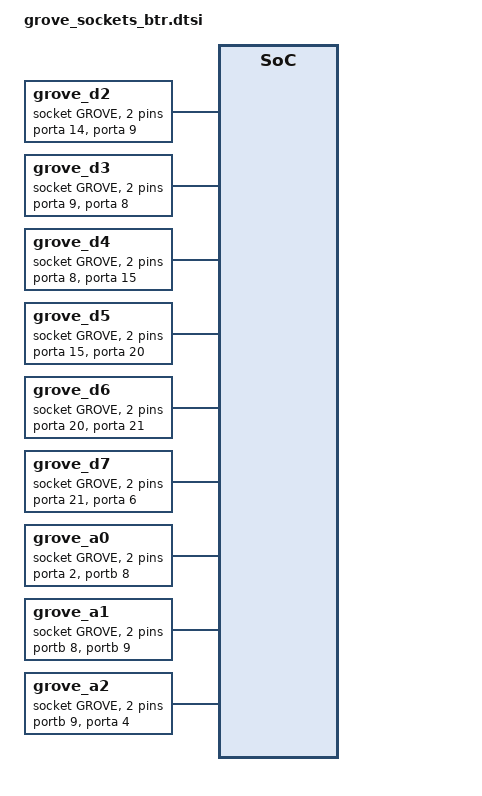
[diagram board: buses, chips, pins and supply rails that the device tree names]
/*
 * Board-DT fragment: Seeeduino Lotus (btr-shields clone) typed "socket,grove"
 * nodes (rigs Convention 4 — typed sockets live in the board's own
 * devicetree).
 *
 * These eight "socket,grove" nodes are the SOLE connector description on this
 * clone: bridle's legacy per-connector `*_header` files were dropped (they had
 * no consumer here and only duplicated these sockets — see the .dts header).
 *
 * gpio-map child pins use the GROVE_SIG0/GROVE_SIG1 indices from
 * <dt-bindings/connector/grove.h>. Pin mapping (which SoC pin each position
 * reaches) mirrors scripts/rigexp/common-dts/boards/seeeduino_lotus.rig.dtsi
 * exactly (the expander-side board model this real board must agree with) —
 * including the daisy-lacing (SIG1 of one connector == SIG0 of the next) and
 * the real bridle fact that D2 and D4 share TCC0 channel 0.
 *
 * adc0: is an ADDITIVE second label on the SoC's existing &adc node — the
 * expander's board model (and its _soc-stubs.dtsi) calls the ADC controller
 * "adc0"; the real SAMD21 dtsi (dts/arm/atmel/samd2x.dtsi) labels it "adc"
 * (singular, no controller instance number — SAMD21 has exactly one ADC).
 * `adc0: &adc {};` is the standard Zephyr idiom for attaching an extra label
 * to an existing node (e.g. `zephyr_udc0: &usb0 { ... };` in bridle's own
 * seeeduino_lotus.dts) — it does not redefine or move anything, only gives
 * the expander's emitted `&adc0 { status = "okay"; };` fragment a real node
 * to resolve against.
 *
 * Bridge-A phase 2a: standard-named `pwm-map` / `io-channel-map` nexuses
 * below (on the sockets that carry PWM/ADC-capable positions) encode the
 * SAME position -> controller+channel routing as the expander-side board
 * model's `socket,pwm-map` / `socket,adc-map`
 * (scripts/rigexp/common-dts/boards/seeeduino_lotus_btr.rig.dtsi) — this is
 * the real-DT counterpart that lets `edtlib.Node.maps()` read it natively
 * (`scripts/rigexp/board_edt.py`), same mechanism as `gpio-map` above.
 * Unlike an invented `socket,pwm-map` name (R21 finding, P3 3c: edtlib
 * strips "-map" -> "socket,pwm" -> demands a nonexistent "#socket,pwm-cells"
 * property), the STANDARD names strip to "pwm" / "io-channel", which demand
 * "#pwm-cells" / "#io-channel-cells" — properties &tcc0/&tcc1 (this board's
 * .dts override) and &adc (dts/arm/atmel/samd2x.dtsi) already declare for
 * their own consumer-facing PWM/ADC roles. So the target side needs no
 * invented decoration; only the socket itself must additionally declare its
 * own "#pwm-cells"/"#io-channel-cells" (the child/consumer-facing spec),
 * same as gpio-map already requires "#gpio-cells" here. The emitter is
 * UNCHANGED by this (out of scope, next task): it still emits fully-resolved
 * `pwms`/`io-channels` straight to `&tcc0`/`&adc0`, bypassing the socket's
 * own nexus — these nexus properties exist for the edtlib reader (pass 1)
 * and for any future consumer that resolves through the socket, not for
 * today's emitter.
 */

#include <dt-bindings/connector/grove.h>

adc0: &adc {};

/ {
	/* Digital Grove sockets. D2/D4 both reach TCC0 channel 0 (real bridle
	 * fact, per bridle's GROVE_PWM_D2/D4_PINCTRL in its upstream
	 * grove_d2/d4_connector.dtsi) — the channel clash lotus-pwm-clash
	 * exercises. #pwm-cells = <2> (channel + period, matching &tcc0/&tcc1's
	 * own atmel,sam0-tcc-pwm override in the board .dts); pwm-map-mask fully
	 * matches the position cell and ignores/passes through the second child
	 * cell (period is a target-side fact, not a match key). */
	grove_d2: connector_grove_d2 {
		compatible = "socket,grove";
		#gpio-cells = <2>;
		gpio-map-mask = <0xffffffff 0xffffffc0>;
		gpio-map-pass-thru = <0 0x3f>;
		gpio-map = <GROVE_SIG0 0 &porta 14 0>, <GROVE_SIG1 0 &porta 9 0>;

		#pwm-cells = <2>;
		pwm-map-mask = <0xffffffff 0x00000000>;
		pwm-map-pass-thru = <0x00000000 0xffffffff>;
		pwm-map = <GROVE_SIG0 0 &tcc0 0 0>, <GROVE_SIG1 0 &tcc0 1 0>;
	};
	grove_d3: connector_grove_d3 {
		compatible = "socket,grove";
		#gpio-cells = <2>;
		gpio-map-mask = <0xffffffff 0xffffffc0>;
		gpio-map-pass-thru = <0 0x3f>;
		gpio-map = <GROVE_SIG0 0 &porta 9 0>, <GROVE_SIG1 0 &porta 8 0>;

		#pwm-cells = <2>;
		pwm-map-mask = <0xffffffff 0x00000000>;
		pwm-map-pass-thru = <0x00000000 0xffffffff>;
		pwm-map = <GROVE_SIG0 0 &tcc0 1 0>, <GROVE_SIG1 0 &tcc0 0 0>;
	};
	grove_d4: connector_grove_d4 {
		compatible = "socket,grove";
		#gpio-cells = <2>;
		gpio-map-mask = <0xffffffff 0xffffffc0>;
		gpio-map-pass-thru = <0 0x3f>;
		gpio-map = <GROVE_SIG0 0 &porta 8 0>, <GROVE_SIG1 0 &porta 15 0>;

		/* Real bridle fact -- D2 and D4 share TCC0 ch0. */
		#pwm-cells = <2>;
		pwm-map-mask = <0xffffffff 0x00000000>;
		pwm-map-pass-thru = <0x00000000 0xffffffff>;
		pwm-map = <GROVE_SIG0 0 &tcc0 0 0>, <GROVE_SIG1 0 &tcc0 1 0>;
	};
	grove_d5: connector_grove_d5 {
		compatible = "socket,grove";
		#gpio-cells = <2>;
		gpio-map-mask = <0xffffffff 0xffffffc0>;
		gpio-map-pass-thru = <0 0x3f>;
		gpio-map = <GROVE_SIG0 0 &porta 15 0>, <GROVE_SIG1 0 &porta 20 0>;
	};
	grove_d6: connector_grove_d6 {
		compatible = "socket,grove";
		#gpio-cells = <2>;
		gpio-map-mask = <0xffffffff 0xffffffc0>;
		gpio-map-pass-thru = <0 0x3f>;
		gpio-map = <GROVE_SIG0 0 &porta 20 0>, <GROVE_SIG1 0 &porta 21 0>;
	};
	grove_d7: connector_grove_d7 {
		compatible = "socket,grove";
		#gpio-cells = <2>;
		gpio-map-mask = <0xffffffff 0xffffffc0>;
		gpio-map-pass-thru = <0 0x3f>;
		gpio-map = <GROVE_SIG0 0 &porta 21 0>, <GROVE_SIG1 0 &porta 6 0>;
	};

	/* Analog Grove sockets. io-channel-map nexus, position -> (adc0,
	 * channel), mirroring the expander-side board model's socket,adc-map.
	 * #io-channel-cells = <1> matches &adc's own "#io-channel-cells" (one
	 * cell: channel only, no flags), so the map row's child spec is fully
	 * resolved by the matched entry — no pass-thru bits needed (mask fully
	 * covers the position cell). */
	grove_a0: connector_grove_a0 {
		compatible = "socket,grove";
		#gpio-cells = <2>;
		gpio-map-mask = <0xffffffff 0xffffffc0>;
		gpio-map-pass-thru = <0 0x3f>;
		gpio-map = <GROVE_SIG0 0 &porta 2 0>, <GROVE_SIG1 0 &portb 8 0>;

		#io-channel-cells = <1>;
		io-channel-map-mask = <0xffffffff>;
		io-channel-map-pass-thru = <0x00000000>;
		io-channel-map = <GROVE_SIG0 &adc0 0>, <GROVE_SIG1 &adc0 1>;
	};
	grove_a1: connector_grove_a1 {
		compatible = "socket,grove";
		#gpio-cells = <2>;
		gpio-map-mask = <0xffffffff 0xffffffc0>;
		gpio-map-pass-thru = <0 0x3f>;
		gpio-map = <GROVE_SIG0 0 &portb 8 0>, <GROVE_SIG1 0 &portb 9 0>;

		#io-channel-cells = <1>;
		io-channel-map-mask = <0xffffffff>;
		io-channel-map-pass-thru = <0x00000000>;
		io-channel-map = <GROVE_SIG0 &adc0 1>, <GROVE_SIG1 &adc0 2>;
	};
	grove_a2: connector_grove_a2 {
		compatible = "socket,grove";
		#gpio-cells = <2>;
		gpio-map-mask = <0xffffffff 0xffffffc0>;
		gpio-map-pass-thru = <0 0x3f>;
		gpio-map = <GROVE_SIG0 0 &portb 9 0>, <GROVE_SIG1 0 &porta 4 0>;
	};
};
